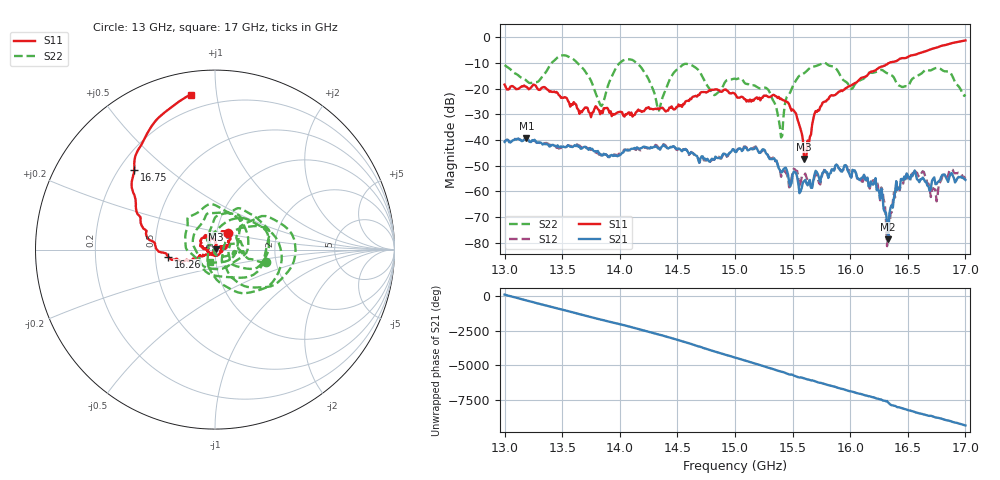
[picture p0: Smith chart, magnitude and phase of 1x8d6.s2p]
!Keysight Technologies,P9374A,MY57211807,A.19.30.04
!Date: Friday, May 08, 2026 15:17:42
!Correction: S11(C  2-Port  )
!S21(C  2-Port  )
!S12(C  2-Port  )
!S22(C  2-Port  )
!S2P File: Measurements: S11, S21, S12, S22:
# Hz S  dB  R 50
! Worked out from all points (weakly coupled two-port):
!   401 points, 13 GHz to 17 GHz, reference 50 ohm
!   highest |S21| = -39.21 dB at 13.19 GHz (marker M1); lowest = -78.7 dB at 16.33 GHz (marker M2)
!   lowest |S11| = -47.4 dB at 15.6 GHz (marker M3), VSWR 1.01, Z = 50.4 + j0.245 ohm
!   |S11| at or under -10 dB: start of sweep to 16.33 GHz
!   |S22| runs from -39.0 to -7.0 dB; largest |S21 - S12| = 0.00089
!   S11 on the Smith chart (normalised r, x): 13 GHz: 1.14, +0.22; 16.26 GHz: 0.59, -0.05; 16.75 GHz: 0.26, +0.39; 17 GHz: 0.12, +0.85
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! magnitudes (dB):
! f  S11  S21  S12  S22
! 13 GHz  -18.4  -40.8  -40.7  -10.8
! 13.19 GHz  -19.3  -39.2  -39.2  -16.9
! 13.49 GHz  -23.6  -42.5  -43.0  -7.1
! 13.67 GHz  -29.2  -43.3  -42.7  -11.7
! 13.84 GHz  -28.7  -45.9  -46.1  -26.7
! 14.11 GHz  -30.8  -43.4  -43.5  -8.8
! 14.34 GHz  -28.0  -43.4  -43.1  -28.5
! 14.56 GHz  -26.0  -43.8  -43.7  -10.4
! 14.82 GHz  -20.3  -47.6  -47.7  -22.5
! 15 GHz  -22.0  -44.6  -44.4  -16.1
! 15.28 GHz  -22.9  -45.6  -45.5  -20.0
! 15.4 GHz  -23.9  -52.6  -54.4  -39.0
! 15.6 GHz  -47.4  -56.1  -54.0  -13.9
! 15.67 GHz  -33.9  -58.7  -57.9  -11.4
! 15.96 GHz  -19.8  -49.8  -50.0  -17.2
! 16.26 GHz  -11.6  -63.0  -63.5  -12.7
! 16.33 GHz  -10.0  -78.7  -76.8  -14.1
! 16.34 GHz  -9.9  -68.8  -78.2  -14.4
! 16.39 GHz  -9.3  -60.4  -62.4  -16.6
! 16.48 GHz  -8.0  -55.3  -55.4  -19.0
! 16.75 GHz  -4.0  -57.2  -63.9  -11.9
! 17 GHz  -1.2  -55.6  -55.1  -22.2
